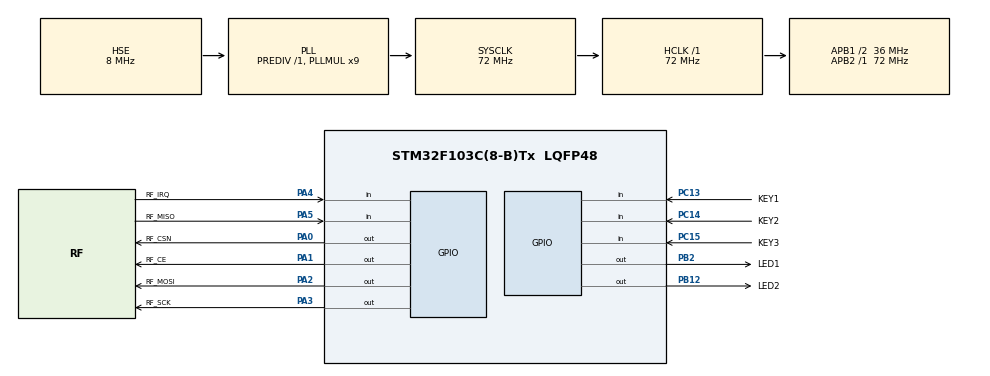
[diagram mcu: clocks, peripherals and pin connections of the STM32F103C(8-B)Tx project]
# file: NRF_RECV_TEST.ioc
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Mcu.Family=STM32F1
Mcu.Name=STM32F103C(8-B)Tx
Mcu.Package=LQFP48
NVIC.PriorityGroup=NVIC_PRIORITYGROUP_4
NVIC.TIM4_IRQn=true\:0\:0\:false\:false\:true\:true
PA0-WKUP.GPIO_Label=RF_CSN
PA0-WKUP.Signal=GPIO_Output
PA1.GPIO_Label=RF_CE
PA1.Signal=GPIO_Output
PA13.Mode=Serial_Wire
PA13.Signal=SYS_JTMS-SWDIO
PA14.Mode=Serial_Wire
PA14.Signal=SYS_JTCK-SWCLK
PA2.GPIO_Label=RF_MOSI
PA2.Signal=GPIO_Output
PA3.GPIO_Label=RF_SCK
PA3.Signal=GPIO_Output
PA4.GPIO_Label=RF_IRQ
PA4.Signal=GPIO_Input
PA5.GPIO_Label=RF_MISO
PA5.Signal=GPIO_Input
PB12.GPIO_Label=LED2
PB12.Signal=GPIO_Output
PB2.GPIO_Label=LED1
PB2.Signal=GPIO_Output
PC13-TAMPER-RTC.GPIO_Label=KEY1
PC13-TAMPER-RTC.GPIO_PuPd=GPIO_PULLUP
PC13-TAMPER-RTC.Signal=GPIO_Input
PC14-OSC32_IN.GPIO_Label=KEY2
PC14-OSC32_IN.GPIO_PuPd=GPIO_PULLUP
PC14-OSC32_IN.Signal=GPIO_Input
PC15-OSC32_OUT.GPIO_Label=KEY3
PC15-OSC32_OUT.GPIO_PuPd=GPIO_PULLUP
PC15-OSC32_OUT.Signal=GPIO_Input
PD0-OSC_IN.Mode=HSE-External-Oscillator
PD0-OSC_IN.Signal=RCC_OSC_IN
PD1-OSC_OUT.Mode=HSE-External-Oscillator
PD1-OSC_OUT.Signal=RCC_OSC_OUT
ProjectManager.HeapSize=0x200
ProjectManager.StackSize=0x400
ProjectManager.TargetToolchain=MDK-ARM V5
RCC.AHBFreq_Value=72000000
RCC.APB1CLKDivider=RCC_HCLK_DIV2
RCC.APB1Freq_Value=36000000
RCC.APB1TimFreq_Value=72000000
RCC.APB2Freq_Value=72000000
RCC.APB2TimFreq_Value=72000000
RCC.HCLKFreq_Value=72000000
RCC.PLLMUL=RCC_PLL_MUL9
RCC.PLLSourceVirtual=RCC_PLLSOURCE_HSE
RCC.SYSCLKFreq_VALUE=72000000
RCC.SYSCLKSource=RCC_SYSCLKSOURCE_PLLCLK
RCC.USBFreq_Value=72000000
TIM4.Period=5000-1
TIM4.Prescaler=72-1
VP_TIM4_VS_ClockSourceINT.Mode=Internal
board=custom

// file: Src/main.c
/* USER CODE BEGIN Header */
/**
  ******************************************************************************
  * @file           : main.c
  * @brief          : Main program body
  ******************************************************************************
  ** This notice applies to any and all portions of this file
  * that are not between comment pairs USER CODE BEGIN and
  * USER CODE END. Other portions of this file, whether
  * inserted by the user or by software development tools
  * are owned by their respective copyright owners.
  *
  * COPYRIGHT(c) 2018 STMicroelectronics
  *
  * Redistribution and use in source and binary forms, with or without modification,
  * are permitted provided that the following conditions are met:
  *   1. Redistributions of source code must retain the above copyright notice,
  *      this list of conditions and the following disclaimer.
  *   2. Redistributions in binary form must reproduce the above copyright notice,
  *      this list of conditions and the following disclaimer in the documentation
  *      and/or other materials provided with the distribution.
  *   3. Neither the name of STMicroelectronics nor the names of its contributors
  *      may be used to endorse or promote products derived from this software
  *      without specific prior written permission.
  *
  * THIS SOFTWARE IS PROVIDED BY THE COPYRIGHT HOLDERS AND CONTRIBUTORS "AS IS"
  * AND ANY EXPRESS OR IMPLIED WARRANTIES, INCLUDING, BUT NOT LIMITED TO, THE
  * IMPLIED WARRANTIES OF MERCHANTABILITY AND FITNESS FOR A PARTICULAR PURPOSE ARE
  * DISCLAIMED. IN NO EVENT SHALL THE COPYRIGHT HOLDER OR CONTRIBUTORS BE LIABLE
  * FOR ANY DIRECT, INDIRECT, INCIDENTAL, SPECIAL, EXEMPLARY, OR CONSEQUENTIAL
  * DAMAGES (INCLUDING, BUT NOT LIMITED TO, PROCUREMENT OF SUBSTITUTE GOODS OR
  * SERVICES; LOSS OF USE, DATA, OR PROFITS; OR BUSINESS INTERRUPTION) HOWEVER
  * CAUSED AND ON ANY THEORY OF LIABILITY, WHETHER IN CONTRACT, STRICT LIABILITY,
  * OR TORT (INCLUDING NEGLIGENCE OR OTHERWISE) ARISING IN ANY WAY OUT OF THE USE
  * OF THIS SOFTWARE, EVEN IF ADVISED OF THE POSSIBILITY OF SUCH DAMAGE.
  *
  ******************************************************************************
  */
/* USER CODE END Header */

#include "main.h"
#include "tim.h"
#include "gpio.h"

/* USER CODE BEGIN Includes */
#include "nrf24l01_reg.h"
#include "nrf24l01.h"
#include "delay.h"
#include "util.h"
#include "led.h"
#include "multi_button.h"

/* USER CODE END Includes */

/* USER CODE BEGIN PV */
extern uint8_t RF_RX_FLAG;
extern uint8_t NRF_rx_buf[];
uint8_t txbuf[8] = "akua";
New_Button(btn1, 1);
New_Button(btn2, 2);
//New_Button(btn3, 3);
/* USER CODE END PV */

void SystemClock_Config(void);
/* USER CODE BEGIN PFP */
extern void nrf_send(uint8_t *txbuf, uint8_t size);
/* USER CODE END PFP */

int main(void)
{

  /* MCU Configuration--------------------------------------------------------*/

  /* Reset of all peripherals, Initializes the Flash interface and the Systick. */
  HAL_Init();

  /* Configure the system clock */
  SystemClock_Config();

  /* Initialize all configured peripherals */
  MX_GPIO_Init();
  MX_TIM4_Init();
  /* USER CODE BEGIN 2 */
  led_ctrl(1, 1);
  nRF24L01_Init(nRF_RX_Mode, 0);
  while (!NRF_Check(0)) // check connection with nrf24l01.
  {
    led_blink(2);
    HAL_Delay(20);
  }
  nrf_send(txbuf, 4);
  led_ctrl(1, 0);
  button_init_and_start(&btn1, 0);
  button_init_and_start(&btn2, 0);
  HAL_TIM_Base_Start_IT(&htim4);
//  button_start(&btn3);
  /* USER CODE END 2 */

  /* Infinite loop */
  while (1)
  {

    /* USER CODE BEGIN 3 */
    nRF24L01_Revceive(0); // polling data
    if(RF_RX_FLAG)
    {
      __NOP();
      RF_RX_FLAG = 0;
    }
//    led_blink(1);
//    led_blink(2);
    HAL_Delay(50);
  }
  /* USER CODE END 3 */
}

void SystemClock_Config(void)
{
  RCC_OscInitTypeDef RCC_OscInitStruct = {0};
  RCC_ClkInitTypeDef RCC_ClkInitStruct = {0};

  /**Initializes the CPU, AHB and APB busses clocks
  */
  RCC_OscInitStruct.OscillatorType = RCC_OSCILLATORTYPE_HSE;
  RCC_OscInitStruct.HSEState = RCC_HSE_ON;
  RCC_OscInitStruct.HSEPredivValue = RCC_HSE_PREDIV_DIV1;
  RCC_OscInitStruct.HSIState = RCC_HSI_ON;
  RCC_OscInitStruct.PLL.PLLState = RCC_PLL_ON;
  RCC_OscInitStruct.PLL.PLLSource = RCC_PLLSOURCE_HSE;
  RCC_OscInitStruct.PLL.PLLMUL = RCC_PLL_MUL9;
  if (HAL_RCC_OscConfig(&RCC_OscInitStruct) != HAL_OK)
  {
    Error_Handler();
  }
  /**Initializes the CPU, AHB and APB busses clocks
  */
  RCC_ClkInitStruct.ClockType = RCC_CLOCKTYPE_HCLK|RCC_CLOCKTYPE_SYSCLK
                              |RCC_CLOCKTYPE_PCLK1|RCC_CLOCKTYPE_PCLK2;
  RCC_ClkInitStruct.SYSCLKSource = RCC_SYSCLKSOURCE_PLLCLK;
  RCC_ClkInitStruct.AHBCLKDivider = RCC_SYSCLK_DIV1;
  RCC_ClkInitStruct.APB1CLKDivider = RCC_HCLK_DIV2;
  RCC_ClkInitStruct.APB2CLKDivider = RCC_HCLK_DIV1;

  if (HAL_RCC_ClockConfig(&RCC_ClkInitStruct, FLASH_LATENCY_2) != HAL_OK)
  {
    Error_Handler();
  }
}

/* USER CODE BEGIN 4 */
/**
  * @brief  Global CallBack func
  * @param  button id & event id
  * @retval None
  */
void Multi_Button_Event_Callback(Button* handle)
{
	// do your own business
	switch(handle->event)
	{
		case PRESS_DOWN:
		{
		}break;
		case PRESS_UP:
    {
		}break;
		case PRESS_REPEAT:
    {
      switch(handle->id)
      {
        case 1:
          nrf_send(">>>btn1 repeated: ", 18);
          uint8_t i = handle->repeat + 0x30;
          nrf_send(&i, 1);
      led_ctrl(1, 1);
        break;
        case 2:
          nrf_send(">>>btn2 repeated: ", 18);
          uint8_t j = handle->repeat + 0x30;
          nrf_send(&j, 1);
          led_ctrl(2, 1);
          break;
      }

    }break;
		case SINGLE_CLICK:
    {
      switch(handle->id)
      {
        case 1:
          nrf_send("button1 single click  ", 22);
          led_ctrl(1, 0);
        break;
        case 2:
          nrf_send("button2 single click  ", 22);
          led_ctrl(2, 0);
          break;
      }
    }break;
		case DOUBLE_CLICK:
    {
      switch(handle->id)
      {
        case 1:
          nrf_send("button1 double click  ", 22);
          led_ctrl(1, 1);
        break;
        case 2:
          nrf_send("button2 double click  ", 22);
          led_ctrl(2, 1);
          break;
      }
    }
			break;
		case LONG_PRESS_HOLD:
    {}break;
		case LONG_RRESS_START:
    {
      switch(handle->id)
      {
        case 1:
          nrf_send("button1 long press  ", 20);
          led_blink(1);
          break;
        case 2:
          nrf_send("button2 long press  ", 20);
          led_blink(2);
          break;
      }
    }break;
    default:
      break;
	}
}

/**
  * @brief  Global Read CallBack func
  * @param  button id
  * @retval button level
  */
uint8_t Multi_Button_Read_Callback(Button* handle)
{
	switch(handle->id)
	{
		case 1:
			return HAL_GPIO_ReadPin(KEY1_GPIO_Port, KEY1_Pin);
		case 2:
			return HAL_GPIO_ReadPin(KEY1_GPIO_Port, KEY2_Pin);
    default:
      return 1; //off
	}

}
void HAL_TIM_PeriodElapsedCallback(TIM_HandleTypeDef *htim)
{
  if(htim->Instance == TIM4)
  {
    button_ticks();
  }
}
/* USER CODE END 4 */

void Error_Handler(void)
{
}

/************************ (C) COPYRIGHT STMicroelectronics *****END OF FILE****/
